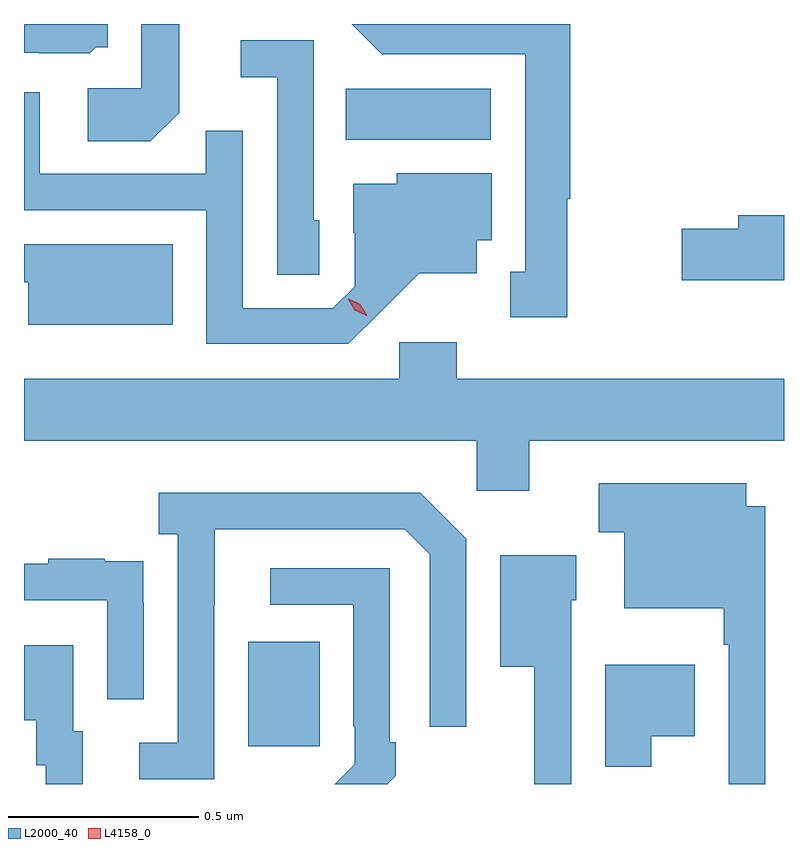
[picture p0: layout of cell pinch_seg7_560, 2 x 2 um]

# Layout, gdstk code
import gdstk
lib = gdstk.Library(unit=1e-6, precision=1e-09)
def R(c, l, rs):  # rectangles x0, y0, x1, y1
    for r in rs: c.add(gdstk.rectangle(r[:2], r[2:], *l))
def P(c, l, *ps):  # polygons
    for p in ps: c.add(gdstk.Polygon(p, *l))
L2000_40 = (2000, 40)
L4158_0 = (4158, 0)

pinch_seg7_560 = lib.new_cell('pinch_seg7_560')
R(pinch_seg7_560, L2000_40, [(150.209,1070.409,150.397,1070.683), (150.466,1072.004,150.847,1072.138)])
P(pinch_seg7_560, L2000_40, [(151.049,1071.849),(151.057,1071.849),(151.057,1072.309),(150.482,1072.309),(150.561,1072.23),(150.938,1072.23),(150.938,1071.657),(150.899,1071.657),(150.899,1071.537),(151.049,1071.537)],
  [(149.808,1072.248),(149.839,1072.248),(149.839,1072.309),(149.619,1072.309),(149.619,1072.233),(149.658,1072.233),(149.658,1072.232),(149.792,1072.232)],
  [(150.027,1072.076),(150.027,1072.309),(149.928,1072.309),(149.928,1072.14),(149.787,1072.14),(149.787,1072),(149.951,1072)],
  [(150.396,1071.792),(150.381,1071.792),(150.381,1072.266),(150.189,1072.266),(150.189,1072.169),(150.285,1072.169),(150.285,1071.649),(150.396,1071.649)],
  [(150.556,1071.551),(150.659,1071.653),(150.811,1071.653),(150.811,1071.74),(150.85,1071.74),(150.85,1071.916),(150.6,1071.916),(150.6,1071.889),(150.485,1071.889),(150.485,1071.76),(150.489,1071.76),(150.489,1071.618),(150.432,1071.561),(150.195,1071.561),(150.195,1072.028),(150.097,1072.028),(150.097,1071.915),(149.661,1071.915),(149.661,1072.129),(149.619,1072.129),(149.619,1071.819),(150.099,1071.819),(150.099,1071.468),(150.472,1071.468)],
  [(151.619,1071.806),(151.499,1071.806),(151.499,1071.77),(151.35,1071.77),(151.35,1071.635),(151.619,1071.635)],
  [(150.01,1071.73),(149.619,1071.73),(149.619,1071.629),(149.63,1071.629),(149.63,1071.518),(150.01,1071.518)],
  [(150.949,1071.212),(151.619,1071.212),(151.619,1071.376),(150.758,1071.376),(150.758,1071.472),(150.606,1071.472),(150.606,1071.376),(149.619,1071.376),(149.619,1071.212),(150.81,1071.212),(150.81,1071.081),(150.949,1071.081)],
  [(151.57,1071.04),(151.519,1071.04),(151.519,1071.1),(151.131,1071.1),(151.131,1070.971),(151.199,1070.971),(151.199,1070.771),(151.461,1070.771),(151.461,1070.675),(151.473,1070.675),(151.473,1070.309),(151.57,1070.309)],
  [(150.12,1070.779),(150.121,1070.779),(150.121,1070.979),(150.621,1070.979),(150.687,1070.913),(150.687,1070.46),(150.783,1070.46),(150.783,1070.955),(150.662,1071.076),(149.973,1071.076),(149.973,1070.966),(150.024,1070.966),(150.024,1070.418),(149.922,1070.418),(149.922,1070.322),(150.12,1070.322)],
  [(151.059,1070.793),(151.072,1070.793),(151.072,1070.911),(150.872,1070.911),(150.872,1070.618),(150.962,1070.618),(150.962,1070.309),(151.059,1070.309)],
  [(149.934,1070.786),(149.933,1070.786),(149.933,1070.895),(149.831,1070.895),(149.831,1070.902),(149.683,1070.902),(149.683,1070.889),(149.619,1070.889),(149.619,1070.793),(149.838,1070.793),(149.838,1070.532),(149.934,1070.532)],
  [(150.597,1070.331),(150.597,1070.419),(150.582,1070.419),(150.582,1070.877),(150.267,1070.877),(150.267,1070.781),(150.486,1070.781),(150.486,1070.461),(150.489,1070.461),(150.489,1070.361),(150.437,1070.309),(150.575,1070.309)],
  [(149.773,1070.448),(149.749,1070.448),(149.749,1070.674),(149.619,1070.674),(149.619,1070.477),(149.651,1070.477),(149.651,1070.358),(149.676,1070.358),(149.676,1070.309),(149.773,1070.309)],
  [(151.27,1070.435),(151.384,1070.435),(151.384,1070.623),(151.148,1070.623),(151.148,1070.354),(151.27,1070.354)])
P(pinch_seg7_560, L4158_0, [(150.521,1071.541),(150.49,1071.556),(150.472,1071.585),(150.472,1071.586),(150.473,1071.586),(150.504,1071.571),(150.522,1071.541),(150.522,1071.541)])

lib.write_gds('pinch_seg7_560.gds')
